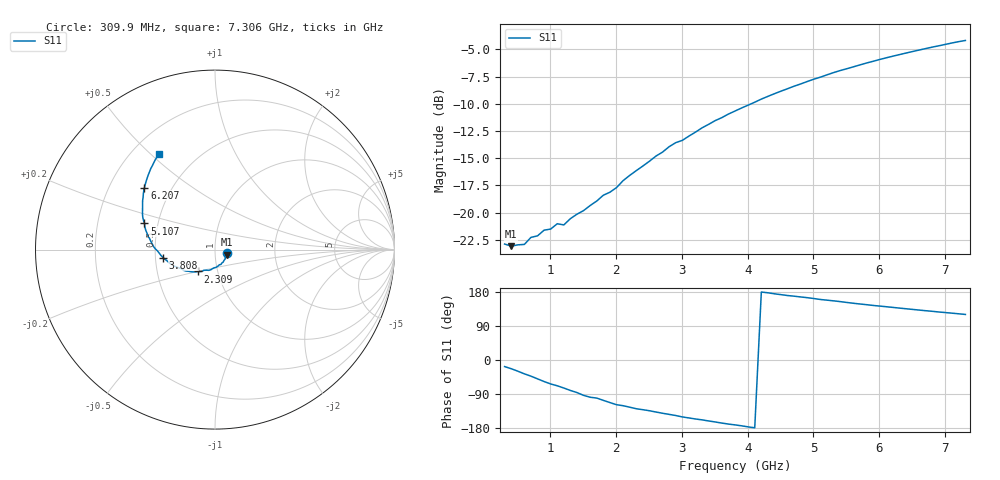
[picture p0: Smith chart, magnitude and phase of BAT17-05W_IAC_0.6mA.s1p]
! Infineon Technologies  Discrete & RF Semiconductors
! BAT17-05W
! IAC = 0.6 mA
! One-Port S-Parameters
# Hz  S  MA  R  50
!f  S11
!Hz  Mag  Ang
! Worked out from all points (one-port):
!   71 points, 309.9 MHz to 7.306 GHz, reference 50 ohm
!   lowest |S11| = -23.1 dB at 409.8 MHz (marker M1), VSWR 1.15, Z = 56.8 - j3.13 ohm
!   |S11| at or under -10 dB: start of sweep to 4.054 GHz
!   S11 on the Smith chart (normalised r, x): 309.9 MHz: 1.15, -0.05; 2.309 GHz: 0.80, -0.20; 3.808 GHz: 0.55, -0.05; 5.107 GHz: 0.42, +0.15; 6.207 GHz: 0.35, +0.33; 7.306 GHz: 0.31, +0.53
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3.0985e8  0.07185 -17.4
4.098e8  0.07024 -23.0
6.097e8  0.07155 -36.5
7.0965e8  0.07706 -42.6
8.096e8  0.07833 -49.8
9.0955e8  0.08318 -56.8
1.0095e9  0.08416 -63.2
1.10945e9  0.08902 -68.1
1.2094e9  0.08793 -74.0
1.30935e9  0.09398 -80.4
1.70915e9  0.1132 -100.5
1.8091e9  0.1203 -106.5
2.009e9  0.1304 -118.0
2.10895e9  0.1404 -120.6
2.30885e9  0.156 -128.6
2.8086e9  0.201 -143.5
3.0085e9  0.2149 -150.3
3.30835e9  0.2453 -158.0
3.8081e9  0.2929 -171.2
4.30785e9  0.342 177.4
4.70765e9  0.381 168.4
5.10745e9  0.4192 159.6
5.30735e9  0.4399 156.1
5.6072e9  0.4674 149.7
6.2069e9  0.5231 138.7
6.50675e9  0.5494 133.4
6.8066e9  0.5758 128.4
7.30635e9  0.6174 120.2
